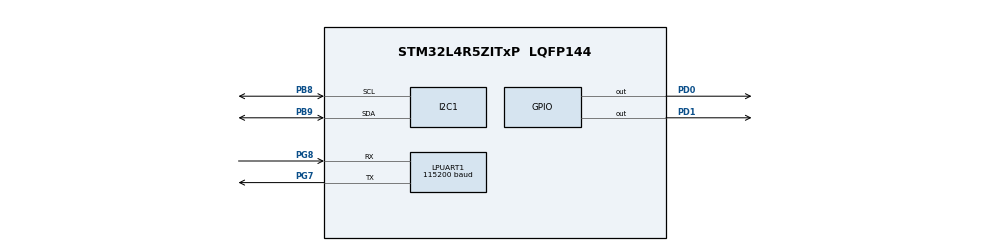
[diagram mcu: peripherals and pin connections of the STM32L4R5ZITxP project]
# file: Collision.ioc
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LPUART1.BaudRate=115200
LPUART1.WordLength=UART_WORDLENGTH_8B
Mcu.Family=STM32L4
Mcu.Name=STM32L4R5ZITxP
Mcu.Package=LQFP144
NVIC.PriorityGroup=NVIC_PRIORITYGROUP_4
PB8.Mode=I2C
PB8.Signal=I2C1_SCL
PB9.Mode=I2C
PB9.Signal=I2C1_SDA
PC0.Signal=I2C3_SCL
PC1.Signal=I2C3_SDA
PD0.Signal=GPIO_Output
PD1.Signal=GPIO_Output
PD5.Signal=USART2_TX
PD6.Signal=USART2_RX
PG7.Mode=Asynchronous
PG7.Signal=LPUART1_TX
PG8.Mode=Asynchronous
PG8.Signal=LPUART1_RX
ProjectManager.HeapSize=0x200
ProjectManager.StackSize=0x400
ProjectManager.TargetToolchain=STM32CubeIDE
RCC.HSE_VALUE=8000000
RCC.HSI48_VALUE=48000000
RCC.HSI_VALUE=16000000
RCC.LSE_VALUE=32768
RCC.MSI_VALUE=4000000
RCC.VCOOutputFreq_Value=32000000
board=custom

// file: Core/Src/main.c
/* USER CODE BEGIN Header */
/**
  ******************************************************************************
  * @file           : main.c
  * @brief          : Main program body
  ******************************************************************************
  * @attention
  *
  * <h2><center>&copy; Copyright (c) 2022 STMicroelectronics.
  * All rights reserved.</center></h2>
  *
  * This software component is licensed by ST under BSD 3-Clause license,
  * the "License"; You may not use this file except in compliance with the
  * License. You may obtain a copy of the License at:
  *                        opensource.org/licenses/BSD-3-Clause
  *
  ******************************************************************************
  */
/* USER CODE END Header */
#include "main.h"

/* USER CODE BEGIN Includes */
#include "stdio.h"
#include "stdlib.h" // For exit( )
//#include <sys/mman.h>
/* USER CODE END Includes */

/* USER CODE BEGIN PM */
#define Write_HM 0xAA
#define Read_HM 0xAB
#define HM_ADDR 0x55 // Without w/r bit.
/* USER CODE END PM */

I2C_HandleTypeDef hi2c1;

UART_HandleTypeDef hlpuart1;

/* USER CODE BEGIN PV */
  //PD0 = RTSN
  //PD1 = MFIO
//! The mode is arbitrary (this is just here as a const variable)
static const GPIO_t rst_pin_c  = { GPIO_OUTPUT, 'D', 0 };
static const GPIO_t mfio_pin_c = { GPIO_OUTPUT, 'D', 1 };
static const uint8_t def_sample_rate = 100; // 100 Hz

/* USER CODE END PV */

void SystemClock_Config(void);
static void MX_GPIO_Init(void);
static void MX_I2C1_Init(void);
static void MX_LPUART1_UART_Init(void);
/* USER CODE BEGIN PFP */

//extern enum IO; // { IN, OUT };
//extern void config_gpio( const char port, const int pin_num,  const enum IO direction );

/* USER CODE END PFP */

int main(void)
{
  /* USER CODE BEGIN 1 */
  SparkFun_Bio_Sensor_t sensor;
  /* USER CODE END 1 */

  /* MCU Configuration--------------------------------------------------------*/

  /* Reset of all peripherals, Initializes the Flash interface and the Systick. */
  HAL_Init();

  /* USER CODE BEGIN Init */
  // Note this is using a compound literal ( )
  bio_sensor_init( &sensor, &hi2c1, HM_ADDR, rst_pin_c, mfio_pin_c, def_sample_rate, DISABLE );

  /* USER CODE END Init */

  /* Configure the system clock */
  SystemClock_Config();

  /* Initialize all configured peripherals */
  MX_GPIO_Init();
  MX_I2C1_Init();
  MX_LPUART1_UART_Init();

  /* Infinite loop */
  /* USER CODE BEGIN WHILE */
  HAL_StatusTypeDef ret;
  uint8_t buf[65536];
  int samples = 0x1;
  /*printf( "Size of algorithm array: %d\n\r", algo_arr_size );
  for ( uint8_t const * ptr = algo_arr_ptr; ptr != algo_arr_ptr + algo_arr_size; ++ptr )
      {
	  printf( "Byte %d: %d\n\r", ptr - algo_arr_ptr, *ptr );
      }
	*/

  /*Program the bootloader*/
  uint8_t ret_byte;
/*
  uint8_t ret_byte = enter_bootloader( &sensor );
  if( ret_byte != BOOTLOADER_MODE )
    {
    printf("Error setting bootloader: code %x\n\r", ret_byte );
    process_status_byte( ret_byte );
    exit( 1 );
    } // end if
*/
//  	  HAL_GPIO_WritePin(GPIOD, GPIO_PIN_0,  0);
//      HAL_Delay(6);
//      HAL_GPIO_WritePin(GPIOD, GPIO_PIN_1,  0);
//      HAL_Delay(4);
//      HAL_GPIO_WritePin(GPIOD, GPIO_PIN_0,  1);
//      HAL_Delay(50);
//
//
//      //HAL_Delay(1000);
//      buf[0] = 0x01; //
//      //buf[1] = 0x08;
//      buf[1] = 0x00;
//      buf[2] = 0x08;
//      ret = HAL_I2C_Master_Transmit(&hi2c1, Write_HM, &buf[0], 3, 5000);
//      HAL_Delay(6);
//
//      printf("%d HAL bool\n\r", ret == HAL_OK);
//      ret = HAL_I2C_Master_Receive(&hi2c1, Read_HM, &buf[0], 1, 5000);
//      if(buf[0] != 0x00 || ret != HAL_OK ){
//          printf("Error setting bootloader: code %x\n\r", buf[0]);
//      }
//
//
//
//  /*read mode*/
//  buf[0] = 0x02;
//  buf[1] = 0x00;
//  ret = HAL_I2C_Master_Transmit(&hi2c1, Write_HM, &buf[0], 2, 5000);
//  HAL_Delay(6);
//  ret = HAL_I2C_Master_Receive(&hi2c1, Read_HM, &buf[0], 2, 5000);
//  printf("error code: %x application mode: %x\n\r", buf[0],buf[1]);
//
//  buf[0] = 0x81; //
//        //buf[1] = 0x08;
//  buf[1] = 0x01;
//  //buf[2] = 0x08;
//  ret = HAL_I2C_Master_Transmit(&hi2c1, Write_HM, &buf[0], 2, 5000);
//  HAL_Delay(6);
//
//        printf("%d HAL bool\n\r", ret == HAL_OK);
//        ret = HAL_I2C_Master_Receive(&hi2c1, Read_HM, &buf[0], 3, 5000);
//        if(buf[0] != 0x00 || ret != HAL_OK ){
//            printf("Error setting bootloader: code %x\n\r", buf[0]);
//        }
//   int page_size = ((buf[1]<<8) + buf[2]) + 16;
//
//
//
//
//  /*setting page number*/
//  uint8_t page_count = *(algo_arr_ptr + 0x44);
//  printf("page_size %d\n", page_size);
//
//  buf[0] = 0x80;
//  buf[1] = 0x02;
//  buf[2] = 0x00;
//  buf[3] = page_count;
//
//  printf("%x pages\n\r", page_count);
//  ret = HAL_I2C_Master_Transmit(&hi2c1, Write_HM, &buf[0], 4, 5000);
//  HAL_Delay(6);
//  ret = HAL_I2C_Master_Receive(&hi2c1, Read_HM, &buf[0], 1, 5000);
//  if(buf[0] != 0x00 || ret != HAL_OK ){
//          printf("Error setting page num: code %x\n\r", buf[0]);
//   }
//  printf("page set\n");
//
//  /*initialization vector*/
//  int byte_count = 0x32-0x28 + 1;
//  //printf("byte count: %d", byte_count);
//
//  buf[0] = 0x80;
//  buf[1] = 0x00;
//  for(int i = 0; i < byte_count; ++i){
//      buf[2+i] = *(algo_arr_ptr + 0x28 + i);//byteF[0x28+i];
//      //printf("%d ",*(algo_arr_ptr + 0x28 + i));
//  }
//  ret = HAL_I2C_Master_Transmit(&hi2c1, Write_HM, &buf[0], 2 + byte_count, 5000);
//  HAL_Delay(6);
//  ret = HAL_I2C_Master_Receive(&hi2c1, Read_HM, &buf[0], 1, 5000);
//  if(buf[0] != 0x00 || ret != HAL_OK ){
//          printf("Error setting init vec: code %x\n\r", buf[0]);
//   }
//  printf("init vec set\n");
///*authentication bytes*/
//  byte_count = 0x43-0x34 + 1;
//      buf[0] = 0x80;
//    buf[1] = 0x01;
//    for(int i = 0; i < byte_count; ++i){
//      buf[2+i] = *(algo_arr_ptr + 0x34 + i);//byteF[0x34+i];
//      //printf("%d ",*(algo_arr_ptr + 0x34 + i));
//    }
//    ret = HAL_I2C_Master_Transmit(&hi2c1, Write_HM, &buf[0], 2 + byte_count, 5000);
//    HAL_Delay(6);
//    ret = HAL_I2C_Master_Receive(&hi2c1, Read_HM, &buf[0], 1, 5000);
//    if(buf[0] != 0x00 || ret != HAL_OK ){
//              printf("Error setting auth vec: code %x\n\r", buf[0]);
//       }
//    printf("auth vec set\n");
//
//    /*erase application*/
//
//    buf[0] = 0x80;
//    buf[1] = 0x03;
//    ret = HAL_I2C_Master_Transmit(&hi2c1, Write_HM, &buf[0], 2, 5000);
//    HAL_Delay(1400);
//    ret = HAL_I2C_Master_Receive(&hi2c1, Read_HM, &buf[0], 1, 5000);
//    if(buf[0] != 0x00 || ret != HAL_OK ){
//              printf("Error setting page num: code %x\n\r", buf[0]);
//       }
//    printf("application erased\n");
//    int current = 0x4c;
//
//    for(int i = 0; i < page_count; ++i){
//        int count = 2;
//        buf[0] = 0x80;
//        buf[1] = 0x04;
//        for(int j = current; j < (current + page_size); ++j){
//            buf[count] = *(algo_arr_ptr + j);//byteF[j];
//            ++count;
//
//        }
//        current = current + (page_size);
//
//        ret = HAL_I2C_Master_Transmit(&hi2c1, Write_HM, &buf[0], count, 5000);
//        HAL_Delay(340);
//        ret = HAL_I2C_Master_Receive(&hi2c1, Read_HM, &buf[0], 1, 5000);
//        printf("page %d uploaded\n", i);
//        if(buf[0] != 0x00 || ret != HAL_OK ){
//                      printf("Error setting page %d : code %x\n\r", i, buf[0]);
//               }
//
//    }
//
//
//    // end for
//  //printf("buffer %x\n", byteF[0]);
//    printf("All pages uploaded\n");

  /*Go into application Mode*/

    HAL_GPIO_WritePin(GPIOD, GPIO_PIN_0,  0); // Reset pin
        HAL_GPIO_WritePin(GPIOD, GPIO_PIN_1,  1); // MFIO pin
        HAL_Delay(10);
        HAL_GPIO_WritePin(GPIOD, GPIO_PIN_0,  1); // Reset is pulled
        HAL_Delay(50);
        HAL_Delay(1000);

        buf[0] = 0x02;
          buf[1] = 0x00;
          ret = HAL_I2C_Master_Transmit(&hi2c1, Write_HM, &buf[0], 2, 5000);
          HAL_Delay(6);
          ret = HAL_I2C_Master_Receive(&hi2c1, Read_HM, &buf[0], 2, 5000);
          printf("error code: %x application mode: %x\n\r", buf[0],buf[1]);

  set_pin_mode( &sensor._mfio_pin, IN );
/*
  	  buf[0] = 0x50;
  	  buf[1] = 0x02; //says 02 in another place
  	buf[2] = 0x0B;

  	//A
  	buf[3] = 0x00;
  	buf[4] = 0x02;
  	buf[5] = 0x6F;
  	buf[6] = 0x60;

  	//B
  	buf[7] = 0xFF;
  	buf[8] = 0xCB;
  	buf[9] = 0x1D;
  	buf[10] = 0x12;

  	//C
	buf[11] = 0x00;
	buf[12] = 0xAB;
	buf[13] = 0xF3;
	buf[14] = 0x7B;

	ret = HAL_I2C_Master_Transmit(&hi2c1, Write_HM, &buf[0], 15, 5000);
	  HAL_Delay(20);
	  ret = HAL_I2C_Master_Receive(&hi2c1, Read_HM, &buf[0], 1, 5000);
	  if(buf[0] != 0x00 || ret != HAL_OK ){
	      printf("Error setting mode: code %x\n\r", buf[0]);
	  }
	printf("Callibrated SpO2!\n");
*/

//
//  buf[0] = 0x02;
//  buf[1] = 0x00;
//  ret = HAL_I2C_Master_Transmit(&hi2c1, Write_HM, &buf[0], 2, 5000);
//  HAL_Delay(6);
//  ret = HAL_I2C_Master_Receive(&hi2c1, Read_HM, &buf[0], 2, 5000);
//  printf("error code: %x mode: %x\nr", buf[0],buf[1]);
//
//  /*read version*/
//  buf[0] = 0xFF;
//  buf[1] = 0x03;
//  ret = HAL_I2C_Master_Transmit(&hi2c1, Write_HM, &buf[0], 2, 5000);
//  HAL_Delay(6);
//  ret = HAL_I2C_Master_Receive(&hi2c1, Read_HM, &buf[0], 5, 5000);
//  printf("error code: %x mode: %x %x %x %x\n\r", buf[0],buf[1], buf[2], buf[3],buf[4]);

  /*set our mode to MODE 1*/
  buf[0] = 0x10;
  buf[1] = 0x00;
  buf[2] = 0x02;
  ret = HAL_I2C_Master_Transmit(&hi2c1, Write_HM, &buf[0], 3, 5000);
  HAL_Delay(6);
  ret = HAL_I2C_Master_Receive(&hi2c1, Read_HM, &buf[0], 1, 5000);
  if(buf[0] != 0x00 || ret != HAL_OK ){
      printf("Error setting mode: code %x\n\r", buf[0]);
  }
  printf("mode set to raw and algo\n");

  /*Set FIFO threshold as almost full at 0x0F*/
  buf[0] = 0x10;
  buf[1] = 0x01;
  buf[2] = samples;
  ret = HAL_I2C_Master_Transmit(&hi2c1, Write_HM, &buf[0], 3, 5000);
  HAL_Delay(6);
  ret = HAL_I2C_Master_Receive(&hi2c1, Read_HM, &buf[0], 1, 5000);
    if(buf[0] != 0x00 || ret != HAL_OK ){
      printf("Error setting FIFO threshold code: %x\n\r", buf[0]);
    }
  printf("fifo set\n");

  /*enable AGC*/
  buf[0] = 0x52;
    buf[1] = 0x00;
    buf[2] = 0x01;
    ret = HAL_I2C_Master_Transmit(&hi2c1, Write_HM, &buf[0], 3, 5000);
    HAL_Delay(25);
    ret = HAL_I2C_Master_Receive(&hi2c1, Read_HM, &buf[0], 1, 5000);
      if(buf[0] != 0x00 || ret != HAL_OK ){
        printf("Error Enabling Algorithm code: %x\n\r", buf[0]);
      }
     printf("enable AGC \n");

  /*Enable the sensor*/
  buf[0] = 0x44;
  buf[1] = 0x03;
  buf[2] = 0x01;
  ret = HAL_I2C_Master_Transmit(&hi2c1, Write_HM, &buf[0], 3, 5000);
  HAL_Delay(45);
  ret = HAL_I2C_Master_Receive(&hi2c1, Read_HM, &buf[0], 1, 5000);
    if(buf[0] != 0x00 || ret != HAL_OK ){
      printf("Error enabling sensor code: %x\n\r", buf[0]);
    }
    printf("sensor set\n");

  /*Enable the algorithm*/

    HAL_Delay(500);
  buf[0] = 0x52;
  buf[1] = 0x02;
  buf[2] = 0x01;
  ret = HAL_I2C_Master_Transmit(&hi2c1, Write_HM, &buf[0], 3, 5000);
  HAL_Delay(45);
  ret = HAL_I2C_Master_Receive(&hi2c1, Read_HM, &buf[0], 1, 5000);

    if(buf[0] != 0x00 || ret != HAL_OK ){
      printf("Error Enabling Algorithm code: %x\n\r", buf[0]);
    }
    printf("enable algorithm \n");

  float heart_rate = 0;
  float SpO2 = 0;

  HAL_Delay(1000);

  while(1){

	  //family: 0x12
	  //index: 0x01
	  //MAXFAST_ARRAY_SIZE: 10

	  buf[0] = 0x12;
	  buf[1] = 0x01;

	  ret = HAL_I2C_Master_Transmit(&hi2c1, Write_HM, &buf[0], 2, 5000);
	  HAL_Delay(6);
	  ret = HAL_I2C_Master_Receive(&hi2c1, Read_HM, &buf[0], 10, 5000);
	  printf("code: %d ", buf[0]);
	  int heartRate = ((buf[1]) << 8);
	  printf("%d %d %d\n", buf[1], buf[2], buf[3]);
	  heartRate |= (buf[2]);
	  heartRate = heartRate/10;

	      // Confidence formatting
	  int confidence = buf[3];

	      //Blood oxygen level formatting
	   float oxygen = (buf[4]) << 8;
	   oxygen += buf[5];
	   oxygen = oxygen/10.0;

	      //"Machine State" - has a finger been detected?
	   int status = buf[6];

	   printf("heart rate: %d ", heartRate);
	   printf("confidence: %d ", confidence);
	   printf("oxygen: %f ", oxygen);
	   printf("status: %d\n\n", status);
	   HAL_Delay(250);

  }
  /*
  while (1)
      {
	  	//HAL_UART_Receive(&hlpuart1, buff, 10, 0xFFFF );
	    //buff[10] = '\0';
	    //printf("%s\n\r", buff);
        HAL_Delay(1000);

        int error = 0;
        // read sensor hub status
        buf[0] = 0x00;
        buf[1] = 0x00;
        ret = HAL_I2C_Master_Transmit(&hi2c1, Write_HM, &buf[0], 2, 5000);
        HAL_Delay(6);
        ret = HAL_I2C_Master_Receive(&hi2c1, Read_HM, &buf[0], 2, 5000);

        if(buf[1] != 0x08)
            {
            printf("Data bit not ready %x \n\r", buf[2]);
            continue;
            } // end if
        else if(buf[0] != 0x0)
            {
            printf(" %x error \n\r", buf[1]);
            continue;
            } // end if

        printf("Data bit: %x, ", buf[1]);
        if ( ret != HAL_OK )
                    {
                    printf("Error sensor write %x \n\r", buf[0]);
                    error = 1;
                    continue;
                    }
        // read FIFO hub status
        buf[0] = 0x12;
        buf[1] = 0x00;
        ret = HAL_I2C_Master_Transmit(&hi2c1, Write_HM, &buf[0], 2, 5000);
        if ( ret != HAL_OK )
            {
            printf("Error algorithm write\r\n");
            error = 1;
            continue;
            }
        ret = HAL_I2C_Master_Receive(&hi2c1, Read_HM, &buf[0], 2, 5000);
        int sample_size = buf[1];
        printf("sample size: %d\n", sample_size);
        if(buf[0] != 0x0)
            {
            printf(" %x error \n\r", buf[1]);
            continue;
            } // end if
        // read the data
        buf[0] = 0x12;
        buf[1] = 0x01;
        ret = HAL_I2C_Master_Transmit(&hi2c1, Write_HM, &buf[0], 2, 5000);
        ret = HAL_I2C_Master_Receive(&hi2c1, Read_HM, &buf[0],2, 5000);
        if ( ret != HAL_OK )
            {
            printf("Error algorithm read\n\r");
            error = 1;
            continue;
            } // end if

        int length_of_data = 1 + 18*sample_size;
        ret = HAL_I2C_Master_Receive(&hi2c1, Read_HM, &buf[0],length_of_data, 5000);
        //ret = HAL_I2C_Master_Recieve(&hi2c1, Read_HM, &buf[0],2, 5000); //checks status
        if(buf[0] != 0x0)
            {
            printf(" %x error \n\r", buf[1]);
            continue;
            } // end if
        // this gets us our data for heart_rate and SpO2
        float viable = 0.0; //counts how many viable samples we have
        for(int i = 13; i < length_of_data; i = i + 18)
        	{
            int temp_heart = (buf[i]<<8) + buf[i+1];
            temp_heart = temp_heart >> 1; //need to change to account for the 0.1
            int temp_SpO2 = (buf[i+3]<<8) + buf[i+4];
            temp_heart = temp_heart >> 1; //need to change to account for the 0.1
            int finger_status = buf[i+5];
            if(finger_status == 3)
                {
                ++viable;
                heart_rate += temp_heart;
                SpO2 += temp_SpO2;
                } // end if
            } // end for
        heart_rate = heart_rate / viable;
        SpO2 = SpO2 / viable; //average out our sample value

        printf("heart: %f, SpO2: %f\n\r", heart_rate, SpO2);
*/
    /* USER CODE END WHILE */

    /* USER CODE BEGIN 3 */
    //} // end while
  /* USER CODE END 3 */
}

void SystemClock_Config(void)
{
  RCC_OscInitTypeDef RCC_OscInitStruct = {0};
  RCC_ClkInitTypeDef RCC_ClkInitStruct = {0};
  RCC_PeriphCLKInitTypeDef PeriphClkInit = {0};

  /** Configure the main internal regulator output voltage
  */
  if (HAL_PWREx_ControlVoltageScaling(PWR_REGULATOR_VOLTAGE_SCALE1) != HAL_OK)
  {
    Error_Handler();
  }
  /** Initializes the RCC Oscillators according to the specified parameters
  * in the RCC_OscInitTypeDef structure.
  */
  RCC_OscInitStruct.OscillatorType = RCC_OSCILLATORTYPE_MSI;
  RCC_OscInitStruct.MSIState = RCC_MSI_ON;
  RCC_OscInitStruct.MSICalibrationValue = 0;
  RCC_OscInitStruct.MSIClockRange = RCC_MSIRANGE_6;
  RCC_OscInitStruct.PLL.PLLState = RCC_PLL_NONE;
  if (HAL_RCC_OscConfig(&RCC_OscInitStruct) != HAL_OK)
  {
    Error_Handler();
  }
  /** Initializes the CPU, AHB and APB buses clocks
  */
  RCC_ClkInitStruct.ClockType = RCC_CLOCKTYPE_HCLK|RCC_CLOCKTYPE_SYSCLK
                              |RCC_CLOCKTYPE_PCLK1|RCC_CLOCKTYPE_PCLK2;
  RCC_ClkInitStruct.SYSCLKSource = RCC_SYSCLKSOURCE_MSI;
  RCC_ClkInitStruct.AHBCLKDivider = RCC_SYSCLK_DIV1;
  RCC_ClkInitStruct.APB1CLKDivider = RCC_HCLK_DIV1;
  RCC_ClkInitStruct.APB2CLKDivider = RCC_HCLK_DIV1;

  if (HAL_RCC_ClockConfig(&RCC_ClkInitStruct, FLASH_LATENCY_0) != HAL_OK)
  {
    Error_Handler();
  }
  PeriphClkInit.PeriphClockSelection = RCC_PERIPHCLK_LPUART1|RCC_PERIPHCLK_I2C1;
  PeriphClkInit.Lpuart1ClockSelection = RCC_LPUART1CLKSOURCE_PCLK1;
  PeriphClkInit.I2c1ClockSelection = RCC_I2C1CLKSOURCE_PCLK1;
  if (HAL_RCCEx_PeriphCLKConfig(&PeriphClkInit) != HAL_OK)
  {
    Error_Handler();
  }
}

static void MX_I2C1_Init(void)
{

  hi2c1.Instance = I2C1;
  hi2c1.Init.Timing = 0x00000E14;
  hi2c1.Init.OwnAddress1 = 0;
  hi2c1.Init.AddressingMode = I2C_ADDRESSINGMODE_7BIT;
  hi2c1.Init.DualAddressMode = I2C_DUALADDRESS_DISABLE;
  hi2c1.Init.OwnAddress2 = 0;
  hi2c1.Init.OwnAddress2Masks = I2C_OA2_NOMASK;
  hi2c1.Init.GeneralCallMode = I2C_GENERALCALL_DISABLE;
  hi2c1.Init.NoStretchMode = I2C_NOSTRETCH_DISABLE;
  if (HAL_I2C_Init(&hi2c1) != HAL_OK)
  {
    Error_Handler();
  }
  /** Configure Analogue filter
  */
  if (HAL_I2CEx_ConfigAnalogFilter(&hi2c1, I2C_ANALOGFILTER_ENABLE) != HAL_OK)
  {
    Error_Handler();
  }
  /** Configure Digital filter
  */
  if (HAL_I2CEx_ConfigDigitalFilter(&hi2c1, 0) != HAL_OK)
  {
    Error_Handler();
  }

}

static void MX_LPUART1_UART_Init(void)
{

  hlpuart1.Instance = LPUART1;
  hlpuart1.Init.BaudRate = 115200;
  hlpuart1.Init.WordLength = UART_WORDLENGTH_8B;
  hlpuart1.Init.StopBits = UART_STOPBITS_1;
  hlpuart1.Init.Parity = UART_PARITY_NONE;
  hlpuart1.Init.Mode = UART_MODE_TX_RX;
  hlpuart1.Init.HwFlowCtl = UART_HWCONTROL_NONE;
  hlpuart1.Init.OneBitSampling = UART_ONE_BIT_SAMPLE_DISABLE;
  hlpuart1.Init.ClockPrescaler = UART_PRESCALER_DIV1;
  hlpuart1.AdvancedInit.AdvFeatureInit = UART_ADVFEATURE_NO_INIT;
  hlpuart1.FifoMode = UART_FIFOMODE_DISABLE;
  if (HAL_UART_Init(&hlpuart1) != HAL_OK)
  {
    Error_Handler();
  }
  if (HAL_UARTEx_SetTxFifoThreshold(&hlpuart1, UART_TXFIFO_THRESHOLD_1_8) != HAL_OK)
  {
    Error_Handler();
  }
  if (HAL_UARTEx_SetRxFifoThreshold(&hlpuart1, UART_RXFIFO_THRESHOLD_1_8) != HAL_OK)
  {
    Error_Handler();
  }
  if (HAL_UARTEx_DisableFifoMode(&hlpuart1) != HAL_OK)
  {
    Error_Handler();
  }

}

static void MX_GPIO_Init(void)
{
  GPIO_InitTypeDef GPIO_InitStruct = {0};

  /* GPIO Ports Clock Enable */
  __HAL_RCC_GPIOC_CLK_ENABLE();
  __HAL_RCC_GPIOG_CLK_ENABLE();
  HAL_PWREx_EnableVddIO2();
  __HAL_RCC_GPIOD_CLK_ENABLE();
  __HAL_RCC_GPIOB_CLK_ENABLE();

  /*Configure GPIO pin Output Level */
  HAL_GPIO_WritePin(GPIOD, GPIO_PIN_0|GPIO_PIN_1, GPIO_PIN_RESET);

  /*Configure GPIO pins : PC0 PC1 */
  GPIO_InitStruct.Pin = GPIO_PIN_0|GPIO_PIN_1;
  GPIO_InitStruct.Mode = GPIO_MODE_AF_OD;
  GPIO_InitStruct.Pull = GPIO_PULLUP;
  GPIO_InitStruct.Speed = GPIO_SPEED_FREQ_VERY_HIGH;
  GPIO_InitStruct.Alternate = GPIO_AF4_I2C3;
  HAL_GPIO_Init(GPIOC, &GPIO_InitStruct);

  /*Configure GPIO pins : PD0 PD1 */
  GPIO_InitStruct.Pin = GPIO_PIN_0|GPIO_PIN_1;
  GPIO_InitStruct.Mode = GPIO_MODE_OUTPUT_PP;
  GPIO_InitStruct.Pull = GPIO_NOPULL;
  GPIO_InitStruct.Speed = GPIO_SPEED_FREQ_LOW;
  HAL_GPIO_Init(GPIOD, &GPIO_InitStruct);

  /*Configure GPIO pins : PD5 PD6 */
  GPIO_InitStruct.Pin = GPIO_PIN_5|GPIO_PIN_6;
  GPIO_InitStruct.Mode = GPIO_MODE_AF_PP;
  GPIO_InitStruct.Pull = GPIO_NOPULL;
  GPIO_InitStruct.Speed = GPIO_SPEED_FREQ_VERY_HIGH;
  GPIO_InitStruct.Alternate = GPIO_AF7_USART2;
  HAL_GPIO_Init(GPIOD, &GPIO_InitStruct);

}

/* USER CODE BEGIN 4 */
#ifdef __GNUC__
#define PUTCHAR_PROTOTYPE int __io_putchar(int ch)
#define GETCHAR_PROTOTYPE int __io_getchar( void )
#else
  #define PUTCHAR_PROTOTYPE int fputc(int ch, FILE *f)
  #define GETCHAR_PROTOTYPE int fgetc( FILE *f )
#endif /* __GNUC__ */
PUTCHAR_PROTOTYPE
{
  HAL_UART_Transmit(&hlpuart1, (uint8_t *)&ch, 1, 0xFFFF);
  return ch;
}

GETCHAR_PROTOTYPE
    {
    int ch;
    HAL_UART_Receive(&hlpuart1, (uint8_t *)&ch, 1, 0xFFFF );
    return ch;
    } //end GETCHAR_PROTOTYPE

/* USER CODE END 4 */

void Error_Handler(void)
{
  __disable_irq();
  while (1)
  {
  }
}

/************************ (C) COPYRIGHT STMicroelectronics *****END OF FILE****/
